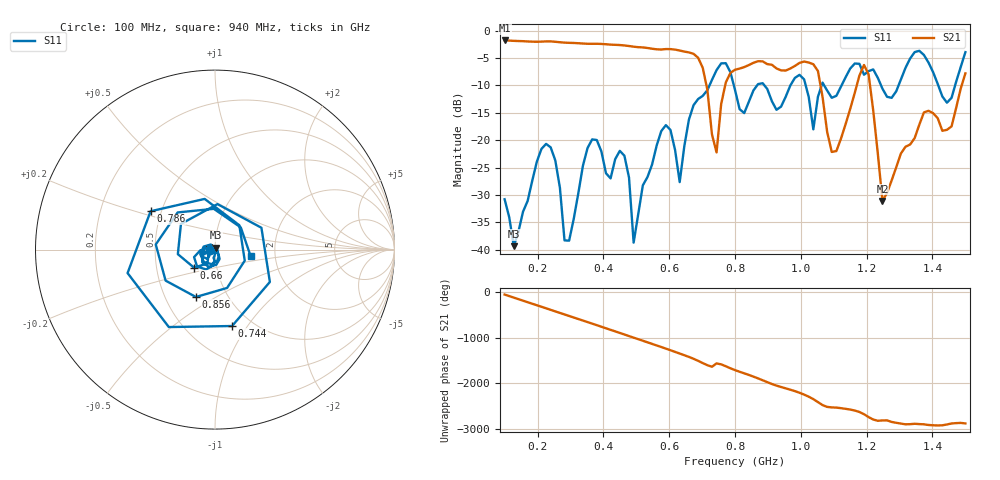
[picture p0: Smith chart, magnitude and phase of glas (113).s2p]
! NanoVNA-App
! Date: 2025-09-25 17:39:39
! Start: 100MHz Stop: 1,5GHz Points: 101
! S-Parameter data: F S11 S21 S12 S22
# Hz S RI R 50
!  Frequency  S11_Real  S11_Imag  S21_Real  S21_Imag  S12_Real  S12_Imag  S22_Real  S22_Imag
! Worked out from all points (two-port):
!   101 points, 100 MHz to 1.5 GHz, reference 50 ohm
!   highest |S21| = -1.80 dB at 100 MHz (marker M1); lowest = -31.1 dB at 1.248 GHz (marker M2)
!   |S21| within 3 dB of the highest: start of sweep to 684.8 MHz
!   lowest |S11| = -39.3 dB at 128 MHz (marker M3), VSWR 1.02, Z = 50.3 + j1.03 ohm
!   |S11| at or under -10 dB: start of sweep to 722.5 MHz; 796.5 MHz to 867.1 MHz (70.63 MHz wide, 8.49 % of centre); 889.4 MHz to 968.2 MHz (78.83 MHz wide, 8.49 % of centre)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
!   S12 and S22 are empty: the file has one direction only
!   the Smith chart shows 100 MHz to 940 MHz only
!   S11 on the Smith chart (normalised r, x): 100 MHz: 0.94, -0.01; 660 MHz: 0.78, -0.16; 744 MHz: 0.81, -0.85; 786 MHz: 0.44, +0.23; 856 MHz: 0.71, -0.41; 940 MHz: 1.49, -0.12
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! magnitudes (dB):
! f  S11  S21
! 100 MHz  -30.8  -1.8
! 128 MHz  -39.3  -1.9
! 212 MHz  -21.6  -2.0
! 282 MHz  -38.3  -2.2
! 338 MHz  -24.6  -2.4
! 464 MHz  -22.8  -2.7
! 492 MHz  -38.7  -2.9
! 576 MHz  -18.3  -3.5
! 632 MHz  -27.6  -3.6
! 660 MHz  -16.2  -4.0
! 744 MHz  -7.2  -22.2
! 786 MHz  -7.6  -7.7
! 800 MHz  -10.8  -7.1
! 856 MHz  -10.9  -5.9
! 940 MHz  -13.9  -7.3
! 996 MHz  -8.1  -5.9
! 1.038 GHz  -18.0  -6.1
! 1.094 GHz  -12.3  -22.1
! 1.192 GHz  -8.0  -6.3
! 1.248 GHz  -10.6  -31.1
! 1.276 GHz  -12.3  -27.3
! 1.5 GHz  -3.9  -7.8
